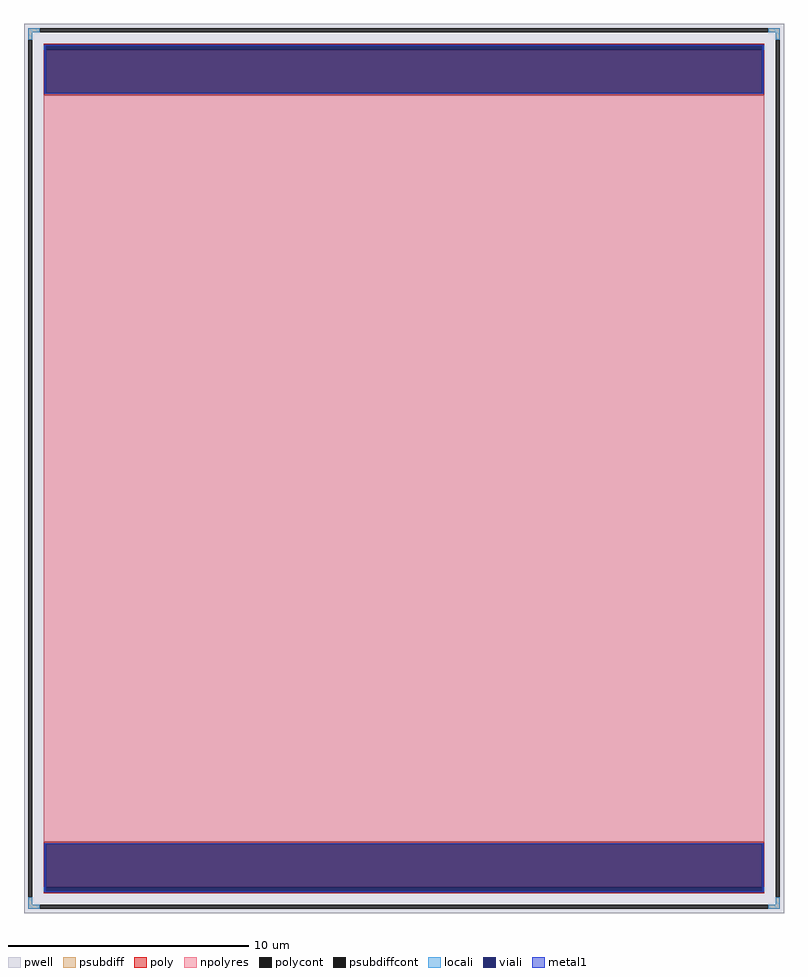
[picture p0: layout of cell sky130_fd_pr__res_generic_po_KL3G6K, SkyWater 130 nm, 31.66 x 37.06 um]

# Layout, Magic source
magic
tech sky130A
magscale 1 2
<< pwell >>
rect -3166 -3706 3166 3706
<< psubdiff >>
rect -3130 3636 -3034 3670
rect 3034 3636 3130 3670
rect -3130 3574 -3096 3636
rect 3096 3574 3130 3636
rect -3130 -3636 -3096 -3574
rect 3096 -3636 3130 -3574
rect -3130 -3670 -3034 -3636
rect 3034 -3670 3130 -3636
<< psubdiffcont >>
rect -3034 3636 3034 3670
rect -3130 -3574 -3096 3574
rect 3096 -3574 3130 3574
rect -3034 -3670 3034 -3636
<< poly >>
rect -3000 3524 3000 3540
rect -3000 3490 -2984 3524
rect 2984 3490 3000 3524
rect -3000 3110 3000 3490
rect -3000 -3490 3000 -3110
rect -3000 -3524 -2984 -3490
rect 2984 -3524 3000 -3490
rect -3000 -3540 3000 -3524
<< polycont >>
rect -2984 3490 2984 3524
rect -2984 -3524 2984 -3490
<< npolyres >>
rect -3000 -3110 3000 3110
<< locali >>
rect -3130 3636 -3034 3670
rect 3034 3636 3130 3670
rect -3130 3574 -3096 3636
rect 3096 3574 3130 3636
rect -3000 3490 -2984 3524
rect 2984 3490 3000 3524
rect -3000 -3524 -2984 -3490
rect 2984 -3524 3000 -3490
rect -3130 -3636 -3096 -3574
rect 3096 -3636 3130 -3574
rect -3130 -3670 -3034 -3636
rect 3034 -3670 3130 -3636
<< viali >>
rect -2984 3490 2984 3524
rect -2984 3127 2984 3490
rect -2984 -3490 2984 -3127
rect -2984 -3524 2984 -3490
<< metal1 >>
rect -2996 3524 2996 3530
rect -2996 3127 -2984 3524
rect 2984 3127 2996 3524
rect -2996 3121 2996 3127
rect -2996 -3127 2996 -3121
rect -2996 -3524 -2984 -3127
rect 2984 -3524 2996 -3127
rect -2996 -3530 2996 -3524
<< properties >>
string FIXED_BBOX -3113 -3653 3113 3653
string gencell sky130_fd_pr__res_generic_po
string library sky130
string parameters w 30 l 31.1 m 1 nx 1 wmin 0.330 lmin 1.650 rho 48.2 val 49.967 dummy 0 dw 0.0 term 0.0 sterm 0.0 caplen 0.4 snake 0 guard 1 glc 1 grc 1 gtc 1 gbc 1 roverlap 0 endcov 100 full_metal 1 hv_guard 0 n_guard 0 vias 1 viagb 0 viagt 0 viagl 0 viagr 0
<< end >>
